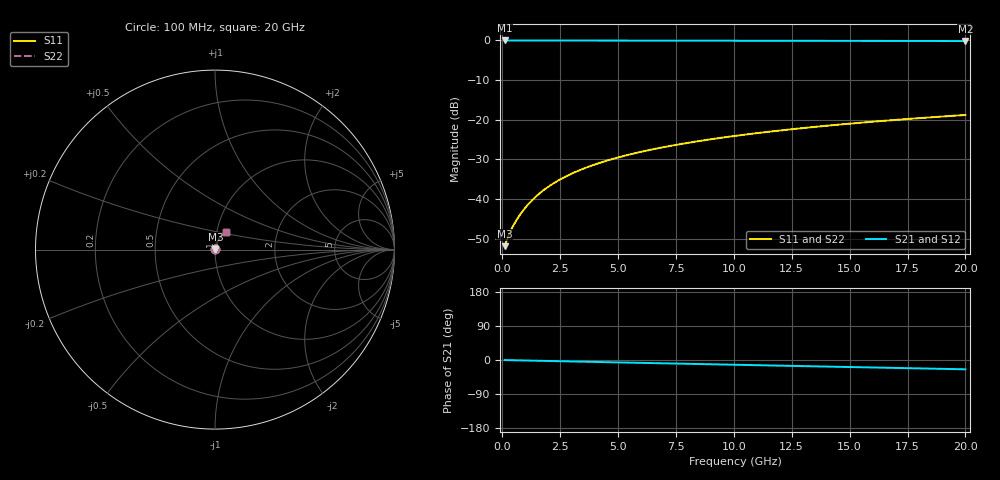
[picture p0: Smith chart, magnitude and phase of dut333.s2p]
! Touchstone file exported from HFSS 2026.1.0
!  File:  C:/ffzhzh/LocalFiles/Ansys_Project_Files/temp_train_TMRDL_333_1783003668_51716.aedt
!  Generated:  10:49:03 PM Jul  2, 2026
!  Design:  TMRDL
!  Project:  temp_train_TMRDL_333_1783003668_51716
! Variables:
!  h_bsmrdl = 2um
!  h_ox = 20um
!  h_rdl = 5um
!  h_sub = 80um
!  h_tmrdl = 5.16um
!  h_tsv = 80um
!  h_via = 3um
!  l_bsmrdl = 300um
!  l_sub = 825.97um
!  l_tmrdl = 425.97um
!  m_sub = 200um
!  pitch = 20.83um
!  r_tsv = 6um
!  s_tmrdl = 10um
!  w_bsmrdl = 18um
!  w_sub = 500um
!  w_tmrdl = 12.89um
!  x_tsv_center1 = 432.415um
!  x_tsv_center2 = 750.415um
!  x_tsv_center3 = 1189.275um
!  x_tsv_center4 = 1507.275um
!  x_tsv_center5 = 1946.135um
!  x_tsv_center6 = 2264.135um
# GHz S MA R 50.000000
! Terminal data exported
! Port[1] = TM_RDL1_1_T1
! Port[2] = TM_RDL1_1_T2
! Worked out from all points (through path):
!   200 points, 100 MHz to 20 GHz, reference 50 ohm
!   highest |S21| = -0.02 dB at 100 MHz (marker M1); lowest = -0.2 dB at 20 GHz (marker M2)
!   group delay of S21, straight-line fit = 3.4 ps
!   lowest |S11| = -51.9 dB at 100 MHz (marker M3), VSWR 1.01, Z = 50.2 + j0.09 ohm
!   |S11| at or under -10 dB: start of sweep to end of sweep
!   |S22| runs from -51.9 to -18.8 dB; largest |S21 - S12| = 7.3e-15
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0.1  0.002551 20.5  0.9976 -0.1  0.9976 -0.1  0.002551 20.5
! Gamma 0 0 0 0
! Port Impedance 50 0 50 0
0.3  0.003619 42.1  0.9973 -0.4  0.9973 -0.4  0.003619 42.1
0.4  0.004189 48.0  0.9972 -0.5  0.9972 -0.5  0.004189 48.0
0.6  0.005351 56.1  0.997 -0.8  0.997 -0.8  0.005352 56.1
0.7  0.005952 59.1  0.997 -0.9  0.997 -0.9  0.005952 59.1
0.9  0.00719 63.5  0.9969 -1.2  0.9969 -1.2  0.00719 63.5
1.1  0.008465 66.7  0.9968 -1.4  0.9968 -1.4  0.008465 66.7
1.3  0.009764 68.9  0.9967 -1.7  0.9967 -1.7  0.009765 68.9
1.7  0.0124 71.7  0.9965 -2.2  0.9965 -2.2  0.0124 71.7
2.2  0.01571 73.4  0.9961 -2.8  0.9961 -2.8  0.01571 73.4
2.8  0.01964 74.3  0.9957 -3.6  0.9957 -3.6  0.01964 74.3
3.5  0.02415 74.5  0.9951 -4.5  0.9951 -4.5  0.02415 74.4
4.2  0.02855 74.2  0.9944 -5.4  0.9944 -5.4  0.02855 74.2
5  0.03347 73.7  0.9937 -6.4  0.9937 -6.4  0.03347 73.7
5.9  0.03887 73.1  0.9929 -7.5  0.9929 -7.5  0.03887 73.0
6.8  0.04415 72.3  0.992 -8.6  0.992 -8.6  0.04416 72.3
8.3  0.05276 71.0  0.9907 -10.4  0.9907 -10.4  0.05276 71.0
10.1  0.06283 69.3  0.9892 -12.6  0.9892 -12.6  0.06283 69.3
11.7  0.0716 67.8  0.9879 -14.6  0.9879 -14.6  0.07161 67.8
13.4  0.08076 66.1  0.9865 -16.6  0.9865 -16.6  0.08077 66.1
16.7  0.09808 62.8  0.9838 -20.6  0.9838 -20.6  0.09808 62.7
20  0.1147 59.3  0.981 -24.6  0.981 -24.6  0.1148 59.3
